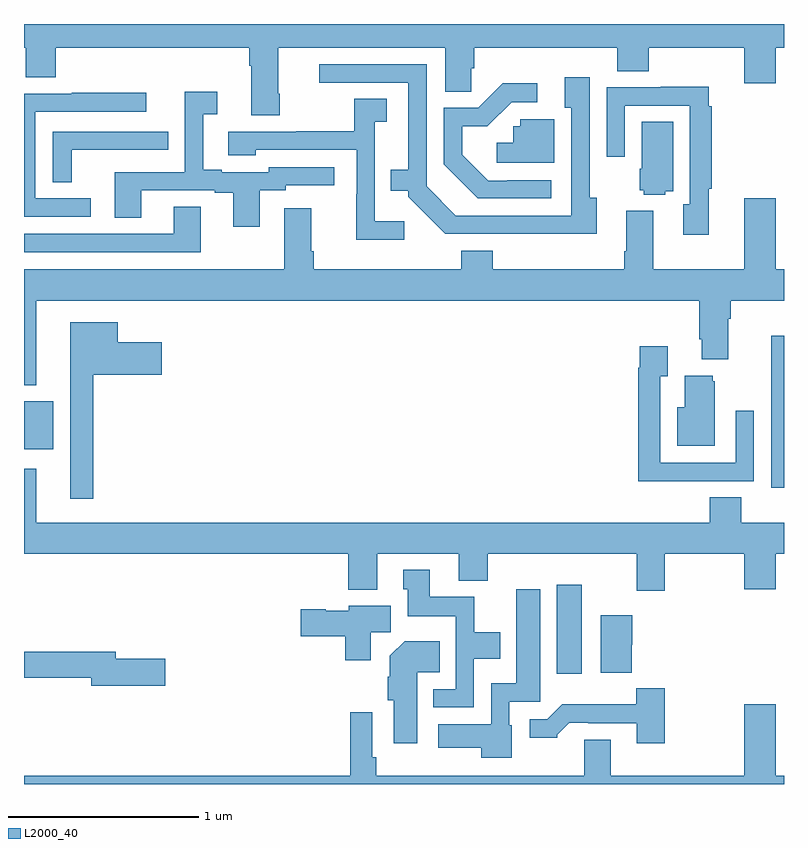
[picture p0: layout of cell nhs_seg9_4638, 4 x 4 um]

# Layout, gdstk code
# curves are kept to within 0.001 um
import gdstk
lib = gdstk.Library(unit=1e-6, precision=1e-09)
def R(c, l, rs):  # rectangles x0, y0, x1, y1
    for r in rs: c.add(gdstk.rectangle(r[:2], r[2:], *l))
def P(c, l, *ps):  # polygons
    for p in ps: c.add(gdstk.Polygon(p, *l))
L2000_40 = (2000, 40)

nhs_seg9_4638 = lib.new_cell('nhs_seg9_4638')
R(nhs_seg9_4638, L2000_40, [(379.805,1237.08,379.936,1237.549), (377,1238.261,377.155,1238.515)])
P(nhs_seg9_4638, L2000_40, [(378.345,1240.132),(378.337,1240.132),(378.337,1240.376),(379.217,1240.376),(379.217,1240.144),(379.355,1240.144),(379.355,1240.266),(379.37,1240.266),(379.37,1240.376),(380.123,1240.376),(380.123,1240.252),(380.288,1240.252),(380.288,1240.376),(380.792,1240.376),(380.792,1240.188),(380.956,1240.188),(380.956,1240.376),(381,1240.376),(381,1240.5),(377,1240.5),(377,1240.376),(377.008,1240.376),(377.008,1240.219),(377.168,1240.219),(377.168,1240.376),(378.185,1240.376),(378.185,1240.28),(378.197,1240.28),(378.197,1240.02),(378.345,1240.02)],
  [(380.014,1239.586),(379.977,1239.586),(379.977,1240.219),(379.847,1240.219),(379.847,1240.058),(379.881,1240.058),(379.881,1239.492),(379.272,1239.492),(379.119,1239.645),(379.119,1240.287),(378.555,1240.287),(378.555,1240.191),(379.022,1240.191),(379.022,1239.733),(378.931,1239.733),(378.931,1239.623),(379.023,1239.623),(379.023,1239.591),(379.218,1239.396),(380.014,1239.395)],
  [(379.774,1239.678),(379.543,1239.678),(379.543,1239.675),(379.443,1239.675),(379.306,1239.812),(379.306,1239.962),(379.439,1239.962),(379.566,1240.089),(379.702,1240.089),(379.702,1240.187),(379.52,1240.187),(379.392,1240.059),(379.209,1240.059),(379.209,1239.761),(379.388,1239.582),(379.774,1239.582)],
  [(380.603,1239.634),(380.621,1239.634),(380.621,1240.067),(380.603,1240.067),(380.603,1240.171),(380.351,1240.171),(380.351,1240.167),(380.067,1240.167),(380.067,1239.801),(380.163,1239.801),(380.163,1240.071),(380.505,1240.071),(380.505,1239.551),(380.471,1239.551),(380.471,1239.39),(380.603,1239.39)],
  [(378.241,1239.624),(378.378,1239.624),(378.378,1239.651),(378.634,1239.651),(378.634,1239.747),(378.288,1239.747),(378.288,1239.72),(378.04,1239.72),(378.04,1239.733),(377.944,1239.733),(377.944,1240.024),(378.016,1240.024),(378.016,1240.144),(377.847,1240.144),(377.847,1239.72),(377.477,1239.72),(377.477,1239.481),(377.617,1239.481),(377.617,1239.624),(378.005,1239.624),(378.005,1239.612),(378.101,1239.612),(378.101,1239.432),(378.241,1239.432)],
  [(377.35,1239.582),(377.058,1239.582),(377.058,1240.038),(377.644,1240.038),(377.644,1240.137),(377.251,1240.137),(377.251,1240.134),(377,1240.134),(377,1239.486),(377.35,1239.486)],
  [(379,1239.463),(378.846,1239.463),(378.846,1239.985),(378.91,1239.985),(378.91,1240.106),(378.738,1240.106),(378.738,1239.936),(378.433,1239.936),(378.433,1239.933),(378.075,1239.933),(378.075,1239.809),(378.219,1239.809),(378.219,1239.837),(378.75,1239.837),(378.75,1239.605),(378.748,1239.605),(378.748,1239.365),(379,1239.365)],
  [(379.792,1239.999),(379.611,1239.999),(379.611,1239.963),(379.575,1239.963),(379.575,1239.874),(379.488,1239.874),(379.488,1239.771),(379.792,1239.771)],
  [(380.376,1239.62),(380.416,1239.62),(380.416,1239.986),(380.252,1239.986),(380.252,1239.738),(380.24,1239.738),(380.24,1239.624),(380.262,1239.624),(380.262,1239.602),(380.376,1239.602)],
  [(377.25,1239.837),(377.645,1239.837),(377.645,1239.838),(377.758,1239.838),(377.758,1239.933),(377.151,1239.933),(377.151,1239.667),(377.25,1239.667)],
  [(377.065,1239.044),(380.555,1239.044),(380.555,1238.842),(380.567,1238.842),(380.567,1238.735),(380.707,1238.735),(380.707,1238.948),(380.72,1238.948),(380.72,1239.044),(381,1239.044),(381,1239.208),(380.956,1239.208),(380.956,1239.583),(380.792,1239.583),(380.792,1239.208),(380.311,1239.208),(380.311,1239.517),(380.171,1239.517),(380.171,1239.304),(380.159,1239.304),(380.159,1239.208),(379.466,1239.208),(379.466,1239.307),(379.301,1239.307),(379.301,1239.208),(378.524,1239.208),(378.524,1239.304),(378.511,1239.304),(378.511,1239.529),(378.371,1239.529),(378.371,1239.208),(377,1239.208),(377,1238.6),(377.065,1238.6)],
  [(377.929,1239.539),(377.789,1239.539),(377.789,1239.396),(377,1239.396),(377,1239.3),(377.929,1239.3)],
  [(377.365,1238.654),(377.725,1238.654),(377.725,1238.824),(377.494,1238.824),(377.494,1238.929),(377.243,1238.929),(377.243,1238.001),(377.365,1238.001)],
  [(381,1238.858),(380.932,1238.858),(380.932,1238.551),(380.934,1238.551),(380.934,1238.058),(381,1238.058)],
  [(380.525,1238.094),(380.841,1238.094),(380.841,1238.464),(380.745,1238.464),(380.745,1238.19),(380.349,1238.19),(380.349,1238.647),(380.389,1238.647),(380.389,1238.803),(380.241,1238.803),(380.241,1238.69),(380.233,1238.69),(380.233,1238.093),(380.525,1238.093)],
  [(380.635,1238.619),(380.624,1238.619),(380.624,1238.65),(380.477,1238.65),(380.477,1238.482),(380.438,1238.482),(380.438,1238.279),(380.635,1238.279)],
  [(380.373,1237.712),(380.792,1237.712),(380.792,1237.524),(380.956,1237.524),(380.956,1237.712),(381,1237.712),(381,1237.876),(380.774,1237.876),(380.774,1238.009),(380.609,1238.009),(380.609,1237.876),(377.065,1237.876),(377.065,1238.158),(377,1238.158),(377,1237.712),(378.707,1237.712),(378.707,1237.523),(378.859,1237.523),(378.859,1237.712),(379.289,1237.712),(379.289,1237.571),(379.442,1237.571),(379.442,1237.712),(380.225,1237.712),(380.225,1237.518),(380.373,1237.518)],
  [(379.368,1237.16),(379.507,1237.16),(379.507,1237.3),(379.371,1237.3),(379.371,1237.486),(379.135,1237.486),(379.135,1237.627),(378.995,1237.627),(378.995,1237.524),(379.019,1237.524),(379.019,1237.382),(379.272,1237.382),(379.272,1236.999),(379.155,1236.999),(379.155,1236.903),(379.368,1236.903)],
  [(379.567,1236.81),(379.554,1236.81),(379.554,1236.933),(379.717,1236.933),(379.717,1237.525),(379.592,1237.525),(379.592,1237.03),(379.458,1237.03),(379.458,1236.814),(379.179,1236.814),(379.179,1236.692),(379.406,1236.692),(379.406,1236.638),(379.567,1236.638)],
  [(378.826,1237.3),(378.931,1237.3),(378.931,1237.438),(378.708,1237.438),(378.708,1237.411),(378.588,1237.411),(378.588,1237.419),(378.456,1237.419),(378.456,1237.277),(378.692,1237.277),(378.692,1237.152),(378.826,1237.152)],
  [(380.198,1237.233),(380.2,1237.233),(380.2,1237.387),(380.036,1237.387),(380.036,1237.085),(380.198,1237.085)],
  [(379.069,1237.088),(379.187,1237.088),(379.187,1237.252),(379.004,1237.252),(378.926,1237.174),(378.926,1237.064),(378.914,1237.064),(378.914,1236.942),(378.947,1236.942),(378.947,1236.714),(379.069,1236.714)],
  [(377.743,1237.16),(377.482,1237.16),(377.482,1237.196),(377,1237.196),(377,1237.06),(377.354,1237.06),(377.354,1237.018),(377.743,1237.018)],
  [(380.373,1237.003),(380.223,1237.003),(380.223,1236.919),(379.834,1236.919),(379.755,1236.84),(379.662,1236.84),(379.662,1236.743),(379.806,1236.743),(379.806,1236.758),(379.87,1236.822),(379.969,1236.822),(379.969,1236.819),(380.225,1236.819),(380.225,1236.714),(380.373,1236.714)],
  [(381,1236.544),(380.956,1236.544),(380.956,1236.919),(380.792,1236.919),(380.792,1236.544),(380.089,1236.544),(380.089,1236.734),(379.949,1236.734),(379.949,1236.544),(378.854,1236.544),(378.854,1236.64),(378.834,1236.64),(378.834,1236.877),(378.718,1236.877),(378.718,1236.544),(377,1236.544),(377,1236.5),(381,1236.5)])

lib.write_gds('nhs_seg9_4638.gds')
